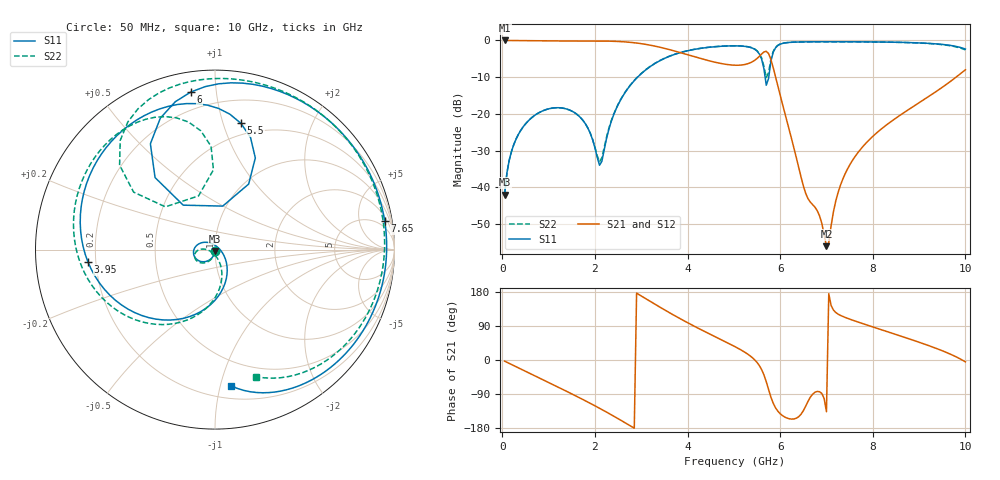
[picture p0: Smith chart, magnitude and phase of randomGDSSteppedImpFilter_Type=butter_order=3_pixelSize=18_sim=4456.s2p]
! freq	dB(S11)	phase(S11)	dB(S12)	phase(S12)
!  dB(S21)	phase(S21)	dB(S22)	phase(S22)
!S-par simulation data
#  GHz  S  DB  R 50
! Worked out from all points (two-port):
!   200 points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, 50 MHz to 10 GHz, reference 50 ohm
!   highest |S21| = -0.01 dB at 50 MHz (marker M1); lowest = -56.0 dB at 7 GHz (marker M2)
!   |S21| within 3 dB of the highest: start of sweep to 3.757 GHz; 5.684135 GHz to 5.704587 GHz (20.45 MHz wide, 0.359 % of centre)
!   lowest |S11| = -41.9 dB at 50 MHz (marker M3), VSWR 1.02, Z = 50 - j0.801 ohm
!   |S11| at or under -10 dB: start of sweep to 2.921 GHz; 5.676 GHz to 5.754 GHz (77.99 MHz wide, 1.36 % of centre)
!   |S22| runs from -41.9 to -0.4 dB; largest |S21 - S12| = 0
!   S11 on the Smith chart (normalised r, x): 50 MHz: 1.00, -0.02; 3.95 GHz: 0.17, -0.05; 5.5 GHz: 0.39, +1.15; 6 GHz: 0.10, +0.85; 7.65 GHz: 3, +11; 10 GHz: 0.30, -1.08
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0.05  -41.92 -91.6  -0.01 -3.0  -0.01 -3.0  -41.92 -91.2
0.25  -28.27 -105.8  -0.03 -14.9  -0.03 -14.9  -28.26 -103.9
0.6  -21.40 -128.6  -0.08 -35.7  -0.08 -35.7  -21.40 -123.9
1.75  -21.88 150.8  -0.15 -104.9  -0.15 -104.9  -21.89 178.8
2.1  -33.95 59.6  -0.16 -127.4  -0.16 -127.4  -33.00 -133.3
2.6  -15.20 -68.8  -0.35 -161.9  -0.35 -161.9  -15.11 -78.0
3.4  -5.52 -134.3  -1.84 139.7  -1.84 139.7  -5.49 -128.5
3.95  -2.96 -174.4  -3.70 101.7  -3.70 101.7  -2.93 -163.6
5.05  -1.48 114.7  -6.75 33.6  -6.75 33.6  -1.46 133.7
5.5  -2.87 78.4  -4.92 -6.3  -4.92 -6.3  -2.78 101.7
5.65  -7.73 62.8  -3.13 -39.3  -3.13 -39.3  -7.04 91.1
5.75  -10.33 125.6  -3.57 -78.1  -3.57 -78.1  -8.76 139.3
5.85  -3.21 121.4  -7.40 -114.1  -7.40 -114.1  -2.97 138.5
6  -1.03 98.7  -14.89 -141.7  -14.89 -141.7  -0.97 118.7
6.5  -0.39 62.1  -39.52 -134.0  -39.52 -134.0  -0.40 84.9
6.7  -0.37 51.6  -44.62 -90.3  -44.62 -90.3  -0.37 75.0
7  -0.35 37.3  -55.96 -136.5  -55.96 -136.5  -0.36 61.2
7.3  -0.35 24.1  -39.46 117.9  -39.46 117.9  -0.36 48.0
7.65  -0.37 9.5  -31.00 101.5  -31.00 101.5  -0.38 33.1
8.35  -0.46 -17.7  -22.47 73.3  -22.47 73.3  -0.47 4.4
9.2  -0.79 -49.3  -15.32 38.3  -15.32 38.3  -0.83 -30.9
10  -2.34 -83.3  -7.97 -4.8  -7.97 -4.8  -2.57 -72.2
